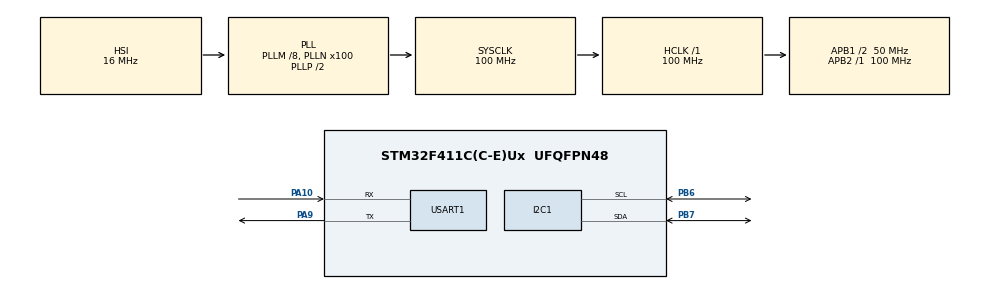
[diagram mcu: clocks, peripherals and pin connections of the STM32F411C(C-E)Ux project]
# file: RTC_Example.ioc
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Mcu.Family=STM32F4
Mcu.Name=STM32F411C(C-E)Ux
Mcu.Package=UFQFPN48
NVIC.PriorityGroup=NVIC_PRIORITYGROUP_4
PA10.Mode=Asynchronous
PA10.Signal=USART1_RX
PA13.Mode=Serial_Wire
PA13.Signal=SYS_JTMS-SWDIO
PA14.Mode=Serial_Wire
PA14.Signal=SYS_JTCK-SWCLK
PA9.Mode=Asynchronous
PA9.Signal=USART1_TX
PB6.Mode=I2C
PB6.Signal=I2C1_SCL
PB7.Mode=I2C
PB7.Signal=I2C1_SDA
PH0\ -\ OSC_IN.Mode=HSE-External-Oscillator
PH0\ -\ OSC_IN.Signal=RCC_OSC_IN
PH1\ -\ OSC_OUT.Mode=HSE-External-Oscillator
PH1\ -\ OSC_OUT.Signal=RCC_OSC_OUT
ProjectManager.HeapSize=0x200
ProjectManager.StackSize=0x400
ProjectManager.TargetToolchain=STM32CubeIDE
RCC.48MHZClocksFreq_Value=50000000
RCC.AHBFreq_Value=100000000
RCC.APB1CLKDivider=RCC_HCLK_DIV2
RCC.APB1Freq_Value=50000000
RCC.APB1TimFreq_Value=100000000
RCC.APB2Freq_Value=100000000
RCC.APB2TimFreq_Value=100000000
RCC.CortexFreq_Value=100000000
RCC.HCLKFreq_Value=100000000
RCC.HSE_VALUE=25000000
RCC.HSI_VALUE=16000000
RCC.LSE_VALUE=32768
RCC.PLLM=8
RCC.PLLN=100
RCC.SYSCLKFreq_VALUE=100000000
RCC.SYSCLKSource=RCC_SYSCLKSOURCE_PLLCLK
RCC.VCOOutputFreq_Value=200000000
USART1.VirtualMode=VM_ASYNC
board=custom

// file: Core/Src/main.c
/* USER CODE BEGIN Header */
/**
  ******************************************************************************
  * @file           : main.c
  * @brief          : Main program body
  ******************************************************************************
  * @attention
  *
  * Copyright (c) 2025 STMicroelectronics.
  * All rights reserved.
  *
  * This software is licensed under terms that can be found in the LICENSE file
  * in the root directory of this software component.
  * If no LICENSE file comes with this software, it is provided AS-IS.
  *
  ******************************************************************************
  */
/* USER CODE END Header */
#include "main.h"

/* USER CODE BEGIN Includes */
#include "RTC.h"

#include "stdio.h"
#include "string.h"
/* USER CODE END Includes */

I2C_HandleTypeDef hi2c1;

UART_HandleTypeDef huart1;

/* USER CODE BEGIN PV */
TIME currentTime;
int hora, minutos, segundos;

ALARM1 alarma;
ALARM2 alarma2;

char buffer[20];
/* USER CODE END PV */

void SystemClock_Config(void);
static void MX_GPIO_Init(void);
static void MX_I2C1_Init(void);
static void MX_USART1_UART_Init(void);

int main(void)
{

  /* MCU Configuration--------------------------------------------------------*/

  /* Reset of all peripherals, Initializes the Flash interface and the Systick. */
  HAL_Init();

  /* Configure the system clock */
  SystemClock_Config();

  /* Initialize all configured peripherals */
  MX_GPIO_Init();
  MX_I2C1_Init();
  MX_USART1_UART_Init();
  /* USER CODE BEGIN 2 */
  RTC_Init(&hi2c1);

  RTC_SetTime(21, 30, 0, 22, 9, 25);
  RTC_SetAlarm1(23, 0, 0);
  RTC_SetAlarm2(22, 0);
  /* USER CODE END 2 */

  /* Infinite loop */
  /* USER CODE BEGIN WHILE */
  while (1)
  {

	  RTC_GetTime(&currentTime);
	  RTC_GetAlarm1(&alarma);
	  RTC_GetAlarm2(&alarma2);

	  sprintf(buffer, "HORA: %02d:%02d:%02d\n\r", currentTime.hour, currentTime.minutes, currentTime.seconds);
	  HAL_UART_Transmit(&huart1, (uint8_t*)buffer, strlen(buffer), 1000);

	  sprintf(buffer, "FECHA: %02d-%02d-20%02d\n\r", currentTime.dayofmonth, currentTime.month, currentTime.year);
	  HAL_UART_Transmit(&huart1, (uint8_t*)buffer, strlen(buffer), 1000);

	  sprintf(buffer, "ALARM: %02d:%02d:%02d\n\r", alarma.hour, alarma.minutes, alarma.seconds);
	  HAL_UART_Transmit(&huart1, (uint8_t*)buffer, strlen(buffer), 1000);

	  sprintf(buffer, "ALARM2: %02d:%02d\n\n\r", alarma2.hour, alarma2.minutes);
	  HAL_UART_Transmit(&huart1, (uint8_t*)buffer, strlen(buffer), 1000);

	  HAL_Delay(500);
    /* USER CODE END WHILE */

  }
}

void SystemClock_Config(void)
{
  RCC_OscInitTypeDef RCC_OscInitStruct = {0};
  RCC_ClkInitTypeDef RCC_ClkInitStruct = {0};

  /** Configure the main internal regulator output voltage
  */
  __HAL_RCC_PWR_CLK_ENABLE();
  __HAL_PWR_VOLTAGESCALING_CONFIG(PWR_REGULATOR_VOLTAGE_SCALE1);

  /** Initializes the RCC Oscillators according to the specified parameters
  * in the RCC_OscInitTypeDef structure.
  */
  RCC_OscInitStruct.OscillatorType = RCC_OSCILLATORTYPE_HSI;
  RCC_OscInitStruct.HSIState = RCC_HSI_ON;
  RCC_OscInitStruct.HSICalibrationValue = RCC_HSICALIBRATION_DEFAULT;
  RCC_OscInitStruct.PLL.PLLState = RCC_PLL_ON;
  RCC_OscInitStruct.PLL.PLLSource = RCC_PLLSOURCE_HSI;
  RCC_OscInitStruct.PLL.PLLM = 8;
  RCC_OscInitStruct.PLL.PLLN = 100;
  RCC_OscInitStruct.PLL.PLLP = RCC_PLLP_DIV2;
  RCC_OscInitStruct.PLL.PLLQ = 4;
  if (HAL_RCC_OscConfig(&RCC_OscInitStruct) != HAL_OK)
  {
    Error_Handler();
  }

  /** Initializes the CPU, AHB and APB buses clocks
  */
  RCC_ClkInitStruct.ClockType = RCC_CLOCKTYPE_HCLK|RCC_CLOCKTYPE_SYSCLK
                              |RCC_CLOCKTYPE_PCLK1|RCC_CLOCKTYPE_PCLK2;
  RCC_ClkInitStruct.SYSCLKSource = RCC_SYSCLKSOURCE_PLLCLK;
  RCC_ClkInitStruct.AHBCLKDivider = RCC_SYSCLK_DIV1;
  RCC_ClkInitStruct.APB1CLKDivider = RCC_HCLK_DIV2;
  RCC_ClkInitStruct.APB2CLKDivider = RCC_HCLK_DIV1;

  if (HAL_RCC_ClockConfig(&RCC_ClkInitStruct, FLASH_LATENCY_3) != HAL_OK)
  {
    Error_Handler();
  }
}

static void MX_I2C1_Init(void)
{

  hi2c1.Instance = I2C1;
  hi2c1.Init.ClockSpeed = 100000;
  hi2c1.Init.DutyCycle = I2C_DUTYCYCLE_2;
  hi2c1.Init.OwnAddress1 = 0;
  hi2c1.Init.AddressingMode = I2C_ADDRESSINGMODE_7BIT;
  hi2c1.Init.DualAddressMode = I2C_DUALADDRESS_DISABLE;
  hi2c1.Init.OwnAddress2 = 0;
  hi2c1.Init.GeneralCallMode = I2C_GENERALCALL_DISABLE;
  hi2c1.Init.NoStretchMode = I2C_NOSTRETCH_DISABLE;
  if (HAL_I2C_Init(&hi2c1) != HAL_OK)
  {
    Error_Handler();
  }

}

static void MX_USART1_UART_Init(void)
{

  huart1.Instance = USART1;
  huart1.Init.BaudRate = 115200;
  huart1.Init.WordLength = UART_WORDLENGTH_8B;
  huart1.Init.StopBits = UART_STOPBITS_1;
  huart1.Init.Parity = UART_PARITY_NONE;
  huart1.Init.Mode = UART_MODE_TX_RX;
  huart1.Init.HwFlowCtl = UART_HWCONTROL_NONE;
  huart1.Init.OverSampling = UART_OVERSAMPLING_16;
  if (HAL_UART_Init(&huart1) != HAL_OK)
  {
    Error_Handler();
  }

}

static void MX_GPIO_Init(void)
{

  /* GPIO Ports Clock Enable */
  __HAL_RCC_GPIOH_CLK_ENABLE();
  __HAL_RCC_GPIOA_CLK_ENABLE();
  __HAL_RCC_GPIOB_CLK_ENABLE();

}

void Error_Handler(void)
{
  __disable_irq();
  while (1)
  {
  }
}
